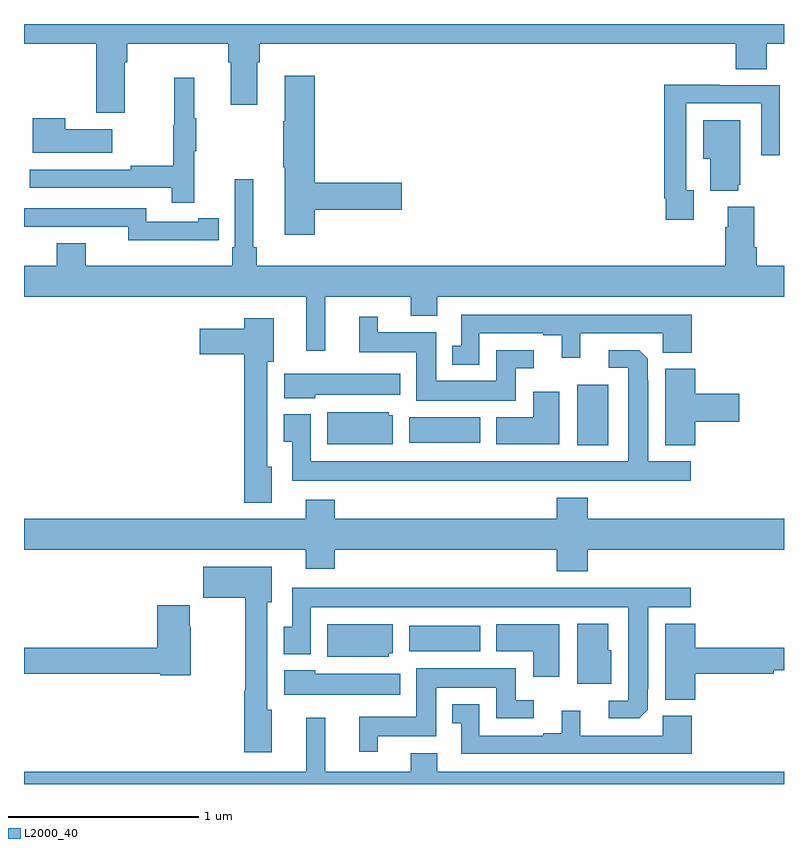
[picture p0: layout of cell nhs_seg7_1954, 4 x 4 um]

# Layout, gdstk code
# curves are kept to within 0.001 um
import gdstk
lib = gdstk.Library(unit=1e-6, precision=1e-09)
def R(c, l, rs):  # rectangles x0, y0, x1, y1
    for r in rs: c.add(gdstk.rectangle(r[:2], r[2:], *l))
def P(c, l, *ps):  # polygons
    for p in ps: c.add(gdstk.Polygon(p, *l))
L2000_40 = (2000, 40)

nhs_seg7_1954 = lib.new_cell('nhs_seg7_1954')
R(nhs_seg7_1954, L2000_40, [(243.027,1050.698,243.4,1050.832), (243.911,1051.784,244.075,1052.101), (243.027,1051.796,243.4,1051.93)])
P(nhs_seg7_1954, L2000_40, [(241.531,1053.8),(241.544,1053.8),(241.544,1053.896),(242.075,1053.896),(242.075,1053.8),(242.087,1053.8),(242.087,1053.576),(242.227,1053.576),(242.227,1053.8),(242.24,1053.8),(242.24,1053.896),(244.745,1053.896),(244.745,1053.763),(244.91,1053.763),(244.91,1053.896),(245,1053.896),(245,1054),(241,1054),(241,1053.896),(241.379,1053.896),(241.379,1053.534),(241.531,1053.534)],
  [(242.531,1053.022),(242.989,1053.022),(242.989,1053.164),(242.531,1053.164),(242.531,1053.727),(242.372,1053.727),(242.372,1053.488),(242.365,1053.488),(242.365,1053.247),(242.372,1053.247),(242.372,1052.892),(242.531,1052.892)],
  [(241.895,1053.331),(241.906,1053.331),(241.906,1053.505),(241.895,1053.505),(241.895,1053.718),(241.792,1053.718),(241.792,1053.468),(241.785,1053.468),(241.785,1053.254),(241.561,1053.254),(241.561,1053.234),(241.029,1053.234),(241.029,1053.138),(241.777,1053.138),(241.777,1053.06),(241.895,1053.06)],
  [(244.525,1053.126),(244.485,1053.126),(244.485,1053.582),(244.881,1053.582),(244.881,1053.309),(244.977,1053.309),(244.977,1053.678),(244.661,1053.678),(244.661,1053.68),(244.369,1053.68),(244.369,1053.082),(244.377,1053.082),(244.377,1052.97),(244.525,1052.97)],
  [(241.465,1053.445),(241.217,1053.445),(241.217,1053.505),(241.046,1053.505),(241.046,1053.323),(241.465,1053.323)],
  [(244.76,1053.153),(244.771,1053.153),(244.771,1053.493),(244.574,1053.493),(244.574,1053.29),(244.613,1053.29),(244.613,1053.122),(244.76,1053.122)],
  [(242.585,1052.564),(243.035,1052.564),(243.035,1052.465),(243.175,1052.465),(243.175,1052.564),(245,1052.564),(245,1052.728),(244.856,1052.728),(244.856,1052.824),(244.843,1052.824),(244.843,1053.037),(244.703,1053.037),(244.703,1052.93),(244.691,1052.93),(244.691,1052.728),(242.225,1052.728),(242.225,1052.824),(242.206,1052.824),(242.206,1053.184),(242.109,1053.184),(242.109,1052.824),(242.096,1052.824),(242.096,1052.728),(241.324,1052.728),(241.324,1052.845),(241.172,1052.845),(241.172,1052.728),(241,1052.728),(241,1052.564),(242.486,1052.564),(242.486,1052.28),(242.585,1052.28)],
  [(241.916,1052.862),(242.024,1052.862),(242.024,1052.978),(241.916,1052.978),(241.916,1052.958),(241.644,1052.958),(241.644,1053.03),(241,1053.03),(241,1052.933),(241.088,1052.933),(241.088,1052.934),(241.548,1052.934),(241.548,1052.861),(241.916,1052.861)],
  [(243.396,1052.373),(243.734,1052.373),(243.734,1052.361),(243.83,1052.361),(243.83,1052.244),(243.928,1052.244),(243.928,1052.373),(244.362,1052.373),(244.362,1052.27),(244.514,1052.27),(244.514,1052.469),(243.3,1052.469),(243.3,1052.307),(243.254,1052.307),(243.254,1052.207),(243.396,1052.207)],
  [(243.589,1052.187),(243.682,1052.187),(243.682,1052.283),(243.485,1052.283),(243.485,1052.122),(243.169,1052.122),(243.169,1052.377),(242.863,1052.377),(242.863,1052.458),(242.765,1052.458),(242.765,1052.273),(243.065,1052.273),(243.065,1052.018),(243.589,1052.018)],
  [(242.305,1051.671),(242.281,1051.671),(242.281,1052.222),(242.314,1052.222),(242.314,1052.452),(242.159,1052.452),(242.159,1052.395),(241.926,1052.395),(241.926,1052.261),(242.159,1052.261),(242.159,1051.481),(242.305,1051.481)],
  [(244.51,1051.699),(244.285,1051.699),(244.284,1052.237),(244.238,1052.283),(244.077,1052.283),(244.077,1052.19),(244.181,1052.19),(244.181,1051.699),(242.508,1051.699),(242.508,1051.945),(242.366,1051.945),(242.366,1051.801),(242.411,1051.801),(242.411,1051.595),(244.51,1051.595)],
  [(244.532,1051.907),(244.765,1051.907),(244.765,1052.054),(244.532,1052.054),(244.532,1052.185),(244.376,1052.185),(244.376,1051.784),(244.532,1051.784)],
  [(242.532,1052.048),(242.98,1052.048),(242.98,1052.158),(242.37,1052.158),(242.37,1052.03),(242.532,1052.03)],
  [(243.817,1052.065),(243.68,1052.065),(243.68,1051.93),(243.485,1051.93),(243.485,1051.787),(243.817,1051.787)],
  [(242.941,1051.941),(242.919,1051.941),(242.919,1051.957),(242.597,1051.957),(242.597,1051.787),(242.941,1051.787)],
  [(243.968,1051.232),(245,1051.232),(245,1051.396),(243.968,1051.396),(243.968,1051.507),(243.803,1051.507),(243.803,1051.396),(242.636,1051.396),(242.636,1051.495),(242.483,1051.495),(242.483,1051.396),(241,1051.396),(241,1051.232),(242.483,1051.232),(242.483,1051.133),(242.636,1051.133),(242.636,1051.232),(243.803,1051.232),(243.803,1051.121),(243.968,1051.121)],
  [(242.305,1050.39),(242.281,1050.39),(242.281,1050.957),(242.305,1050.957),(242.305,1051.144),(241.944,1051.144),(241.944,1050.979),(242.164,1050.979),(242.164,1050.49),(242.159,1050.49),(242.159,1050.168),(242.305,1050.168)],
  [(244.284,1050.391),(244.285,1050.929),(244.51,1050.929),(244.51,1051.033),(242.411,1051.033),(242.411,1050.828),(242.366,1050.828),(242.366,1050.684),(242.508,1050.684),(242.508,1050.929),(244.181,1050.929),(244.181,1050.438),(244.077,1050.438),(244.077,1050.345),(244.238,1050.345)],
  [(241.878,1050.827),(241.873,1050.827),(241.873,1050.94),(241.7,1050.94),(241.7,1050.716),(241,1050.716),(241,1050.58),(241.716,1050.58),(241.716,1050.572),(241.878,1050.572)],
  [(244.532,1050.58),(244.946,1050.58),(244.946,1050.6),(245,1050.6),(245,1050.716),(244.532,1050.716),(244.532,1050.844),(244.376,1050.844),(244.376,1050.443),(244.532,1050.443)],
  [(244.09,1050.705),(244.075,1050.705),(244.075,1050.844),(243.911,1050.844),(243.911,1050.528),(244.09,1050.528)],
  [(242.919,1050.687),(242.941,1050.687),(242.941,1050.841),(242.597,1050.841),(242.597,1050.671),(242.919,1050.671)],
  [(243.817,1050.841),(243.485,1050.841),(243.485,1050.698),(243.68,1050.698),(243.68,1050.564),(243.817,1050.564)],
  [(242.863,1050.251),(243.169,1050.251),(243.169,1050.506),(243.485,1050.506),(243.485,1050.345),(243.682,1050.345),(243.682,1050.441),(243.589,1050.441),(243.589,1050.61),(243.065,1050.61),(243.065,1050.355),(242.765,1050.355),(242.765,1050.171),(242.863,1050.171)],
  [(242.98,1050.58),(242.532,1050.58),(242.532,1050.598),(242.37,1050.598),(242.37,1050.47),(242.98,1050.47)],
  [(244.514,1050.358),(244.362,1050.358),(244.362,1050.255),(243.928,1050.255),(243.928,1050.385),(243.83,1050.385),(243.83,1050.268),(243.734,1050.268),(243.734,1050.255),(243.396,1050.255),(243.396,1050.421),(243.254,1050.421),(243.254,1050.321),(243.3,1050.321),(243.3,1050.159),(244.514,1050.159)],
  [(245,1050.064),(243.175,1050.064),(243.175,1050.163),(243.035,1050.163),(243.035,1050.064),(242.585,1050.064),(242.585,1050.349),(242.486,1050.349),(242.486,1050.064),(241,1050.064),(241,1050),(245,1050)])

lib.write_gds('nhs_seg7_1954.gds')
